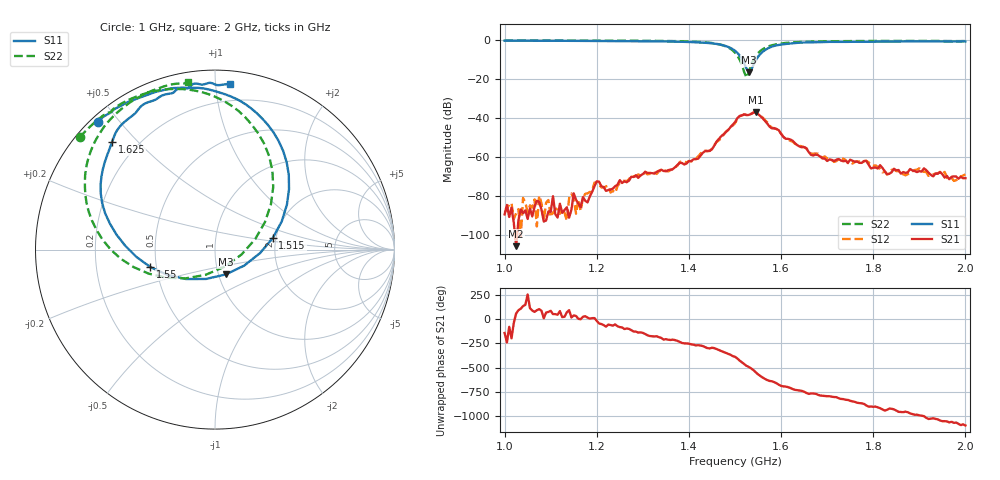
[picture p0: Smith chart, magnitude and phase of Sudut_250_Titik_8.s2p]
# Hz S RI R 50
! CMT, C1220, 16058040, 17.2.0/1
! Date: 14/08/2018 12:08:00
! Data: Format (Calibration Info)
! Freq  S11: Re/Im (F2)  S21: Re/Im (F2)  S12: Re/Im (F2)  S22: Re/Im (F2)
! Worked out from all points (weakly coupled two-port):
!   201 points, 1 GHz to 2 GHz, reference 50 ohm
!   highest |S21| = -36.99 dB at 1.545 GHz (marker M1); lowest = -105.8 dB at 1.025 GHz (marker M2)
!   lowest |S11| = -16.4 dB at 1.53 GHz (marker M3), VSWR 1.36, Z = 54.1 - j15.3 ohm
!   |S11| at or under -10 dB: 1.516 GHz to 1.546 GHz (30.4 MHz wide, 1.99 % of centre)
!   |S22| runs from -19.2 to -0.2 dB; largest |S21 - S12| = 0.00055
!   S11 on the Smith chart (normalised r, x): 1 GHz: 0.02, +0.44; 1.515 GHz: 1.92, +0.28; 1.55 GHz: 0.46, -0.10; 1.625 GHz: 0.11, +0.42; 2 GHz: 0.09, +1.09
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1e9  -0.6545 0.7098  -2.65e-05 -2.07e-05  3.86e-05 -1.82e-07  -0.7534 0.6256
1.025e9  -0.6331 0.7287  2.71e-06 4.38e-06  -3.61e-05 -1.53e-06  -0.7366 0.6444
1.17e9  -0.4867 0.8216  8.51e-05 3.93e-05  8.99e-05 4.72e-06  -0.6163 0.7513
1.185e9  -0.4633 0.8306  9.72e-05 9.15e-06  0.000124 2.25e-05  -0.599 0.7607
1.2e9  -0.4455 0.8367  0.000226 -7.26e-05  0.000195 -0.000103  -0.5825 0.7648
1.24e9  -0.388 0.8579  0.000105 -0.000144  2.88e-05 -0.000117  -0.5485 0.7967
1.275e9  -0.3389 0.876  -0.000126 -0.000285  -8.58e-05 -0.000321  -0.5013 0.8244
1.335e9  -0.2302 0.8999  -0.00044 5e-05  -0.000428 7.92e-05  -0.3997 0.8661
1.45e9  0.1724 0.8081  0.000661 0.00144  0.000817 0.00142  0.0251 0.8402
1.5e9  0.4125 0.3362  0.00687 -0.00371  0.00644 -0.00353  0.3244 0.3494
1.515e9  0.3219 0.0642  0.00105 -0.0116  0.00135 -0.0117  0.2236 0.0579
1.525e9  0.1626 -0.0892  -0.00618 -0.0101  -0.00623 -0.0104  0.0542 -0.0952
1.53e9  0.0601 -0.1383  -0.00822 -0.00881  -0.00825 -0.00888  -0.0524 -0.1405
1.545e9  -0.2671 -0.1404  -0.014 0.00196  -0.0139 0.00161  -0.3692 -0.134
1.55e9  -0.3609 -0.0967  -0.0111 0.00614  -0.0114 0.00571  -0.4541 -0.0971
1.625e9  -0.5734 0.5988  0.00261 -3.18e-05  0.00248 7.07e-05  -0.7019 0.5203
1.67e9  -0.4617 0.7451  0.000748 -0.000794  0.000856 -0.000864  -0.6258 0.6732
1.785e9  -0.2356 0.8726  -0.000782 -0.000134  -0.000774 -0.000187  -0.4446 0.8377
1.835e9  -0.1608 0.8988  -0.000344 0.00014  -0.000276 0.000268  -0.3753 0.8745
1.91e9  -0.0562 0.9222  8.85e-05 0.000502  0.000159 0.000385  -0.2706 0.9134
1.975e9  0.0458 0.9191  0.000313 5.67e-05  0.000241 3.5e-05  -0.1787 0.9244
2e9  0.0854 0.9212  0.000274 -8.13e-05  0.00035 -7.96e-05  -0.151 0.9337
